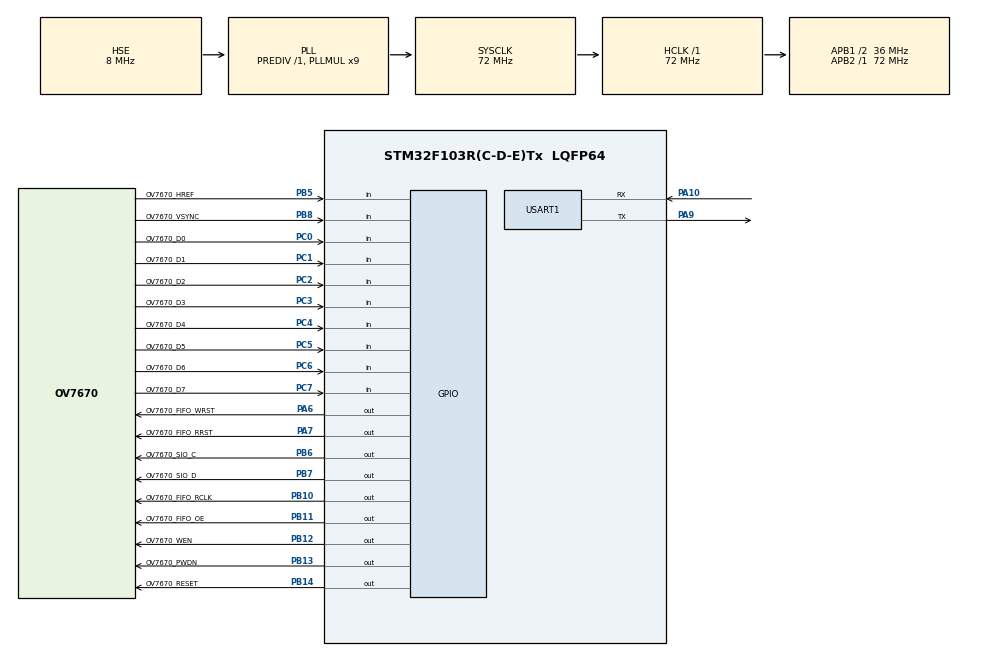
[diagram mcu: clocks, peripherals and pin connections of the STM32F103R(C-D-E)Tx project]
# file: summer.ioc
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Mcu.Family=STM32F1
Mcu.Name=STM32F103R(C-D-E)Tx
Mcu.Package=LQFP64
NVIC.PriorityGroup=NVIC_PRIORITYGROUP_4
NVIC.USART1_IRQn=true\:0\:0\:false\:false\:true\:true\:true\:true
PA10.Mode=Asynchronous
PA10.Signal=USART1_RX
PA13.Mode=Trace_Asynchronous_SW
PA13.Signal=SYS_JTMS-SWDIO
PA14.Mode=Trace_Asynchronous_SW
PA14.Signal=SYS_JTCK-SWCLK
PA6.GPIO_Label=OV7670_FIFO_WRST
PA6.GPIO_Speed=GPIO_SPEED_FREQ_HIGH
PA6.PinState=GPIO_PIN_SET
PA6.Signal=GPIO_Output
PA7.GPIO_Label=OV7670_FIFO_RRST
PA7.GPIO_Speed=GPIO_SPEED_FREQ_HIGH
PA7.PinState=GPIO_PIN_SET
PA7.Signal=GPIO_Output
PA9.Mode=Asynchronous
PA9.Signal=USART1_TX
PB10.GPIO_Label=OV7670_FIFO_RCLK
PB10.GPIO_Speed=GPIO_SPEED_FREQ_HIGH
PB10.PinState=GPIO_PIN_SET
PB10.Signal=GPIO_Output
PB11.GPIO_Label=OV7670_FIFO_OE
PB11.GPIO_Speed=GPIO_SPEED_FREQ_HIGH
PB11.PinState=GPIO_PIN_SET
PB11.Signal=GPIO_Output
PB12.GPIO_Label=OV7670_WEN
PB12.GPIO_Speed=GPIO_SPEED_FREQ_HIGH
PB12.PinState=GPIO_PIN_SET
PB12.Signal=GPIO_Output
PB13.GPIO_Label=OV7670_PWDN
PB13.PinState=GPIO_PIN_RESET
PB13.Signal=GPIO_Output
PB14.GPIO_Label=OV7670_RESET
PB14.PinState=GPIO_PIN_SET
PB14.Signal=GPIO_Output
PB3.Mode=Trace_Asynchronous_SW
PB3.Signal=SYS_JTDO-TRACESWO
PB5.GPIO_Label=OV7670_HREF
PB5.Signal=GPIO_Input
PB6.GPIO_Label=OV7670_SIO_C
PB6.GPIO_Speed=GPIO_SPEED_FREQ_HIGH
PB6.Signal=GPIO_Output
PB7.GPIO_Label=OV7670_SIO_D
PB7.GPIO_Speed=GPIO_SPEED_FREQ_HIGH
PB7.PinState=GPIO_PIN_SET
PB7.Signal=GPIO_Output
PB8.GPIO_Label=OV7670_VSYNC
PB8.GPIO_PuPd=GPIO_PULLUP
PB8.Signal=GPIO_Input
PC0.GPIO_Label=OV7670_D0
PC0.GPIO_PuPd=GPIO_PULLUP
PC0.Signal=GPIO_Input
PC1.GPIO_Label=OV7670_D1
PC1.GPIO_PuPd=GPIO_PULLUP
PC1.Signal=GPIO_Input
PC2.GPIO_Label=OV7670_D2
PC2.GPIO_PuPd=GPIO_PULLUP
PC2.Signal=GPIO_Input
PC3.GPIO_Label=OV7670_D3
PC3.GPIO_PuPd=GPIO_PULLUP
PC3.Signal=GPIO_Input
PC4.GPIO_Label=OV7670_D4
PC4.GPIO_PuPd=GPIO_PULLUP
PC4.Signal=GPIO_Input
PC5.GPIO_Label=OV7670_D5
PC5.GPIO_PuPd=GPIO_PULLUP
PC5.Signal=GPIO_Input
PC6.GPIO_Label=OV7670_D6
PC6.GPIO_PuPd=GPIO_PULLUP
PC6.Signal=GPIO_Input
PC7.GPIO_Label=OV7670_D7
PC7.GPIO_PuPd=GPIO_PULLUP
PC7.Signal=GPIO_Input
PD0-OSC_IN.Mode=HSE-External-Oscillator
PD0-OSC_IN.Signal=RCC_OSC_IN
PD1-OSC_OUT.Mode=HSE-External-Oscillator
PD1-OSC_OUT.Signal=RCC_OSC_OUT
ProjectManager.HeapSize=0x200
ProjectManager.StackSize=0x400
ProjectManager.TargetToolchain=STM32CubeIDE
RCC.AHBFreq_Value=72000000
RCC.APB1CLKDivider=RCC_HCLK_DIV2
RCC.APB1Freq_Value=36000000
RCC.APB1TimFreq_Value=72000000
RCC.APB2Freq_Value=72000000
RCC.APB2TimFreq_Value=72000000
RCC.HCLKFreq_Value=72000000
RCC.PLLMUL=RCC_PLL_MUL9
RCC.PLLSourceVirtual=RCC_PLLSOURCE_HSE
RCC.SYSCLKFreq_VALUE=72000000
RCC.SYSCLKSource=RCC_SYSCLKSOURCE_PLLCLK
RCC.USBFreq_Value=72000000
USART1.VirtualMode=VM_ASYNC
board=custom

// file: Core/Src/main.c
/* USER CODE BEGIN Header */
/**
  ******************************************************************************
  * @file           : main.c
  * @brief          : Main program body
  ******************************************************************************
  * @attention
  *
  * Copyright (c) 2022 STMicroelectronics.
  * All rights reserved.
  *
  * This software is licensed under terms that can be found in the LICENSE file
  * in the root directory of this software component.
  * If no LICENSE file comes with this software, it is provided AS-IS.
  *
  ******************************************************************************
  */
/* USER CODE END Header */
#include "main.h"

/* USER CODE BEGIN Includes */
#include "ov7670.h"
#include "sccb.h"
#include "usart.h"
#include "delay.h"
#include <string.h>
/* USER CODE END Includes */

UART_HandleTypeDef huart1;

/* USER CODE BEGIN PV */
uint8_t ov7670_init;
uint8_t send;
/* USER CODE END PV */

void SystemClock_Config(void);
static void MX_GPIO_Init(void);
static void MX_USART1_UART_Init(void);

int main(void)
{

  /* MCU Configuration--------------------------------------------------------*/

  /* Reset of all peripherals, Initializes the Flash interface and the Systick. */
  HAL_Init();

  /* Configure the system clock */
  SystemClock_Config();

  /* Initialize all configured peripherals */
  MX_GPIO_Init();
  MX_USART1_UART_Init();

  /* Infinite loop */
  while (1)
  {

    /* USER CODE BEGIN 3 */
	  HAL_UART_Receive_IT(&huart1, (uint8_t *)&aRxBuffer, 1);
	  if(HAL_GPIO_ReadPin(GPIOB,OV7670_SIO_D_Pin)==GPIO_PIN_SET)send=1;
	  else send=0;
	  HAL_UART_Transmit_IT(&huart1,&send,1);
	  sw_delay_ms(250);
  }
  /* USER CODE END 3 */
}

void SystemClock_Config(void)
{
  RCC_OscInitTypeDef RCC_OscInitStruct = {0};
  RCC_ClkInitTypeDef RCC_ClkInitStruct = {0};

  /** Initializes the RCC Oscillators according to the specified parameters
  * in the RCC_OscInitTypeDef structure.
  */
  RCC_OscInitStruct.OscillatorType = RCC_OSCILLATORTYPE_HSE;
  RCC_OscInitStruct.HSEState = RCC_HSE_ON;
  RCC_OscInitStruct.HSEPredivValue = RCC_HSE_PREDIV_DIV1;
  RCC_OscInitStruct.HSIState = RCC_HSI_ON;
  RCC_OscInitStruct.PLL.PLLState = RCC_PLL_ON;
  RCC_OscInitStruct.PLL.PLLSource = RCC_PLLSOURCE_HSE;
  RCC_OscInitStruct.PLL.PLLMUL = RCC_PLL_MUL9;
  if (HAL_RCC_OscConfig(&RCC_OscInitStruct) != HAL_OK)
  {
    Error_Handler();
  }

  /** Initializes the CPU, AHB and APB buses clocks
  */
  RCC_ClkInitStruct.ClockType = RCC_CLOCKTYPE_HCLK|RCC_CLOCKTYPE_SYSCLK
                              |RCC_CLOCKTYPE_PCLK1|RCC_CLOCKTYPE_PCLK2;
  RCC_ClkInitStruct.SYSCLKSource = RCC_SYSCLKSOURCE_PLLCLK;
  RCC_ClkInitStruct.AHBCLKDivider = RCC_SYSCLK_DIV1;
  RCC_ClkInitStruct.APB1CLKDivider = RCC_HCLK_DIV2;
  RCC_ClkInitStruct.APB2CLKDivider = RCC_HCLK_DIV1;

  if (HAL_RCC_ClockConfig(&RCC_ClkInitStruct, FLASH_LATENCY_2) != HAL_OK)
  {
    Error_Handler();
  }
}

static void MX_USART1_UART_Init(void)
{

  huart1.Instance = USART1;
  huart1.Init.BaudRate = 115200;
  huart1.Init.WordLength = UART_WORDLENGTH_8B;
  huart1.Init.StopBits = UART_STOPBITS_1;
  huart1.Init.Parity = UART_PARITY_NONE;
  huart1.Init.Mode = UART_MODE_TX_RX;
  huart1.Init.HwFlowCtl = UART_HWCONTROL_NONE;
  huart1.Init.OverSampling = UART_OVERSAMPLING_16;
  if (HAL_UART_Init(&huart1) != HAL_OK)
  {
    Error_Handler();
  }

}

static void MX_GPIO_Init(void)
{
  GPIO_InitTypeDef GPIO_InitStruct = {0};

  /* GPIO Ports Clock Enable */
  __HAL_RCC_GPIOD_CLK_ENABLE();
  __HAL_RCC_GPIOC_CLK_ENABLE();
  __HAL_RCC_GPIOA_CLK_ENABLE();
  __HAL_RCC_GPIOB_CLK_ENABLE();

  /*Configure GPIO pin Output Level */
  HAL_GPIO_WritePin(GPIOA, OV7670_FIFO_WRST_Pin|OV7670_FIFO_RRST_Pin, GPIO_PIN_SET);

  /*Configure GPIO pin Output Level */
  HAL_GPIO_WritePin(GPIOB, OV7670_FIFO_RCLK_Pin|OV7670_FIFO_OE_Pin|OV7670_WEN_Pin|OV7670_RESET_Pin
                          |OV7670_SIO_D_Pin, GPIO_PIN_SET);

  /*Configure GPIO pin Output Level */
  HAL_GPIO_WritePin(GPIOB, OV7670_PWDN_Pin|OV7670_SIO_C_Pin, GPIO_PIN_RESET);

  /*Configure GPIO pins : OV7670_D0_Pin OV7670_D1_Pin OV7670_D2_Pin OV7670_D3_Pin
                           OV7670_D4_Pin OV7670_D5_Pin OV7670_D6_Pin OV7670_D7_Pin */
  GPIO_InitStruct.Pin = OV7670_D0_Pin|OV7670_D1_Pin|OV7670_D2_Pin|OV7670_D3_Pin
                          |OV7670_D4_Pin|OV7670_D5_Pin|OV7670_D6_Pin|OV7670_D7_Pin;
  GPIO_InitStruct.Mode = GPIO_MODE_INPUT;
  GPIO_InitStruct.Pull = GPIO_PULLUP;
  HAL_GPIO_Init(GPIOC, &GPIO_InitStruct);

  /*Configure GPIO pins : OV7670_FIFO_WRST_Pin OV7670_FIFO_RRST_Pin */
  GPIO_InitStruct.Pin = OV7670_FIFO_WRST_Pin|OV7670_FIFO_RRST_Pin;
  GPIO_InitStruct.Mode = GPIO_MODE_OUTPUT_PP;
  GPIO_InitStruct.Pull = GPIO_NOPULL;
  GPIO_InitStruct.Speed = GPIO_SPEED_FREQ_HIGH;
  HAL_GPIO_Init(GPIOA, &GPIO_InitStruct);

  /*Configure GPIO pins : OV7670_FIFO_RCLK_Pin OV7670_FIFO_OE_Pin OV7670_WEN_Pin OV7670_SIO_C_Pin
                           OV7670_SIO_D_Pin */
  GPIO_InitStruct.Pin = OV7670_FIFO_RCLK_Pin|OV7670_FIFO_OE_Pin|OV7670_WEN_Pin|OV7670_SIO_C_Pin
                          |OV7670_SIO_D_Pin;
  GPIO_InitStruct.Mode = GPIO_MODE_OUTPUT_PP;
  GPIO_InitStruct.Pull = GPIO_NOPULL;
  GPIO_InitStruct.Speed = GPIO_SPEED_FREQ_HIGH;
  HAL_GPIO_Init(GPIOB, &GPIO_InitStruct);

  /*Configure GPIO pins : OV7670_PWDN_Pin OV7670_RESET_Pin */
  GPIO_InitStruct.Pin = OV7670_PWDN_Pin|OV7670_RESET_Pin;
  GPIO_InitStruct.Mode = GPIO_MODE_OUTPUT_PP;
  GPIO_InitStruct.Pull = GPIO_NOPULL;
  GPIO_InitStruct.Speed = GPIO_SPEED_FREQ_LOW;
  HAL_GPIO_Init(GPIOB, &GPIO_InitStruct);

  /*Configure GPIO pin : OV7670_HREF_Pin */
  GPIO_InitStruct.Pin = OV7670_HREF_Pin;
  GPIO_InitStruct.Mode = GPIO_MODE_INPUT;
  GPIO_InitStruct.Pull = GPIO_NOPULL;
  HAL_GPIO_Init(OV7670_HREF_GPIO_Port, &GPIO_InitStruct);

  /*Configure GPIO pin : OV7670_VSYNC_Pin */
  GPIO_InitStruct.Pin = OV7670_VSYNC_Pin;
  GPIO_InitStruct.Mode = GPIO_MODE_INPUT;
  GPIO_InitStruct.Pull = GPIO_PULLUP;
  HAL_GPIO_Init(OV7670_VSYNC_GPIO_Port, &GPIO_InitStruct);

}

/* USER CODE BEGIN 4 */
void HAL_UART_RxCpltCallback(UART_HandleTypeDef *huart)
{
  /* Prevent unused argument(s) compilation warning */
  UNUSED(huart);
  /* NOTE: This function Should not be modified, when the callback is needed,
           the HAL_UART_TxCpltCallback could be implemented in the user file
   */
	if(Uart1_Rx_Cnt >= 255)  //溢出判断
	{
		Uart1_Rx_Cnt = 0;
		memset(RxBuffer,0x00,sizeof(RxBuffer));
		HAL_UART_Transmit(&huart1, (uint8_t *)"数据溢出", 10,0xFFFF);

	}
	else
	{
		RxBuffer[Uart1_Rx_Cnt++] = aRxBuffer;   //接收数据转存

		if((RxBuffer[Uart1_Rx_Cnt-1] == 0x0A)&&(RxBuffer[Uart1_Rx_Cnt-2] == 0x0D)) //判断结束�??
		{
			HAL_UART_Transmit(&huart1, (uint8_t *)&RxBuffer, Uart1_Rx_Cnt,0xFFFF); //将收到的信息发�?�出�??
            while(HAL_UART_GetState(&huart1) == HAL_UART_STATE_BUSY_TX);//�??测UART发�?�结�??
			Uart1_Rx_Cnt = 0;
			memset(RxBuffer,0x00,sizeof(RxBuffer)); //清空数组
		}
	}

	HAL_UART_Receive_IT(&huart1, (uint8_t *)&aRxBuffer, 1);   //再开启接收中�??
}
/* USER CODE END 4 */

void Error_Handler(void)
{
  __disable_irq();
  while (1)
  {
  }
}
